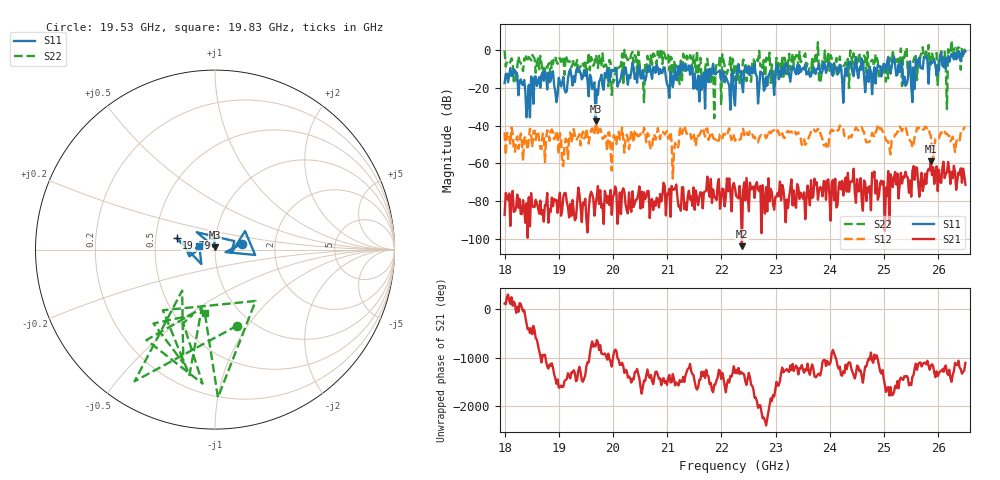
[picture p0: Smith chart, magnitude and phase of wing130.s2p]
!Keysight Technologies,N5242B,MY47200105,A.14.00.23
!Date: Friday, May 10, 2024 11:04:23
!Correction: S11(C  2-Port  )
!S21(C  2-Port  )
!S12(C  2-Port  )
!S22(C  2-Port  )
!S2P File: Measurement: :
# Hz S  RI  R 50
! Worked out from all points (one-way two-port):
!   401 points, 18 GHz to 26.5 GHz, reference 50 ohm
!   highest |S21| = -59.00 dB at 25.86 GHz (marker M1); lowest = -104.0 dB at 22.38 GHz (marker M2)
!   lowest |S11| = -37.7 dB at 19.68 GHz (marker M3), VSWR 1.03, Z = 49.9 + j1.3 ohm
!   |S11| at or under -10 dB: 18.11 GHz to 19.33 GHz (1.221 GHz wide, 6.52 % of centre); 19.35 GHz to 19.9 GHz (550.9 MHz wide, 2.81 % of centre); 21.86 GHz to 22.3 GHz (440 MHz wide, 1.99 % of centre) (the widest 3 of 59)
!   |S22| runs from -36.1 to 5.2 dB; largest |S21 - S12| = 0.011
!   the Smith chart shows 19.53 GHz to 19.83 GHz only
!   S11 on the Smith chart (normalised r, x): 19.53 GHz: 1.35, +0.09; 19.79 GHz: 0.64, +0.09; 19.83 GHz: 0.84, +0.03
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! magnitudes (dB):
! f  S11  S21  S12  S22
! 18 GHz  -17.4  -87.4  -43.6  -0.1
! 18.19 GHz  -12.1  -85.4  -53.9  -10.7
! 18.43 GHz  -27.7  -99.5  -52.9  -4.9
! 18.72 GHz  -16.2  -91.0  -44.1  -9.3
! 19.42 GHz  -15.5  -91.2  -45.2  -6.4
! 19.53 GHz  -16.4  -96.7  -45.9  -7.1
! 19.68 GHz  -37.7  -81.5  -38.9  -2.5
! 19.79 GHz  -13.0  -83.5  -43.7  -8.8
! 19.83 GHz  -21.0  -92.2  -46.7  -8.9
! 20.02 GHz  -11.1  -76.5  -45.1  -16.5
! 20.38 GHz  -9.3  -83.2  -48.9  -6.6
! 20.55 GHz  -10.5  -83.4  -45.1  -13.7
! 20.85 GHz  -12.8  -83.4  -44.2  -4.6
! 21.14 GHz  -9.1  -73.3  -49.2  -8.3
! 21.27 GHz  -7.7  -72.7  -44.4  -15.9
! 22.25 GHz  -29.4  -73.2  -48.0  -16.3
! 22.38 GHz  -18.1  -104.0  -43.2  -13.1
! 23.67 GHz  -10.5  -78.4  -41.6  -3.8
! 25.1 GHz  -8.7  -92.8  -51.6  -5.9
! 25.39 GHz  -18.9  -64.5  -40.6  0.4
! 25.86 GHz  -6.2  -59.0  -45.7  -7.7
! 26.5 GHz  -0.6  -71.3  -40.8  0.7
